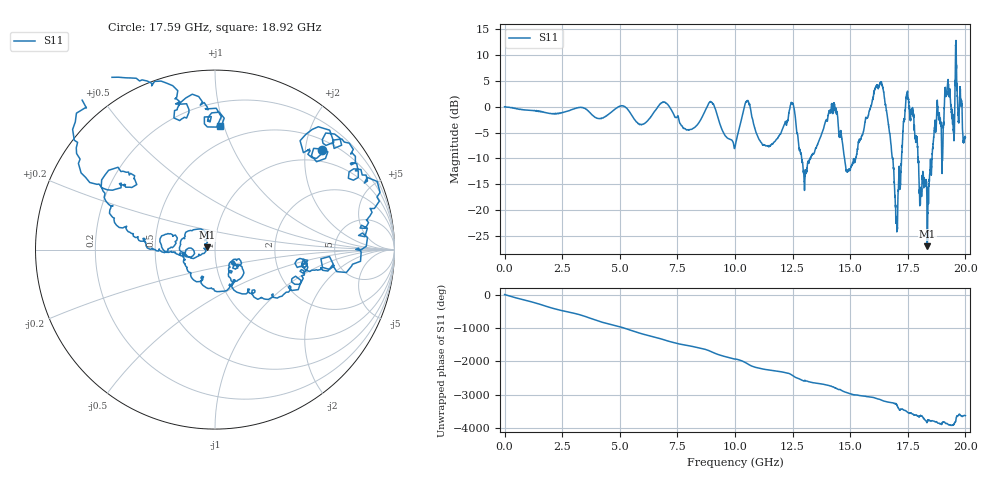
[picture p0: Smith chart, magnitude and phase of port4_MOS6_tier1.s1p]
! Created with skrf 1.8.0 (http://scikit-rf.org).
# GHz S RI R 50.0
!freq ReS11 ImS11
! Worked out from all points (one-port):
!   10000 points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, 3 MHz to 20 GHz, reference 50 ohm
!   lowest |S11| = -26.9 dB at 18.35 GHz (marker M1), VSWR 1.09, Z = 45.8 + j1.16 ohm
!   |S11| at or under -10 dB: 14.76 GHz to 15.24 GHz (481 MHz wide, 3.21 % of centre); 16.85 GHz to 17.23 GHz (379.4 MHz wide, 2.23 % of centre); 17.95 GHz to 18.55 GHz (599.3 MHz wide, 3.28 % of centre) (the widest 3 of 10)
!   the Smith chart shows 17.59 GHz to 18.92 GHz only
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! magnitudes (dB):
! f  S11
! 3 MHz  0.0
! 2.503 GHz  -1.1
! 5.003 GHz  0.1
! 5.885 GHz  -3.4
! 7.503 GHz  -1.9
! 8.149 GHz  -4.3
! 8.981 GHz  0.9
! 10 GHz  -7.8
! 10.51 GHz  0.9
! 11.4 GHz  -7.6
! 12.5 GHz  0.6
! 13.03 GHz  -14.2
! 14.26 GHz  -0.3
! 15 GHz  -12.0
! 16.34 GHz  4.7
! 16.69 GHz  -4.4
! 17.01 GHz  -22.5
! 17.38 GHz  -0.7
! 17.5 GHz  1.9
! 17.8 GHz  -5.3
! 18.04 GHz  -17.7
! 18.35 GHz  -26.9
! 18.72 GHz  -4.1
! 18.99 GHz  -12.9
! 19.19 GHz  2.4
! 19.44 GHz  -3.2
! 19.66 GHz  0.8
! 20 GHz  -5.9
